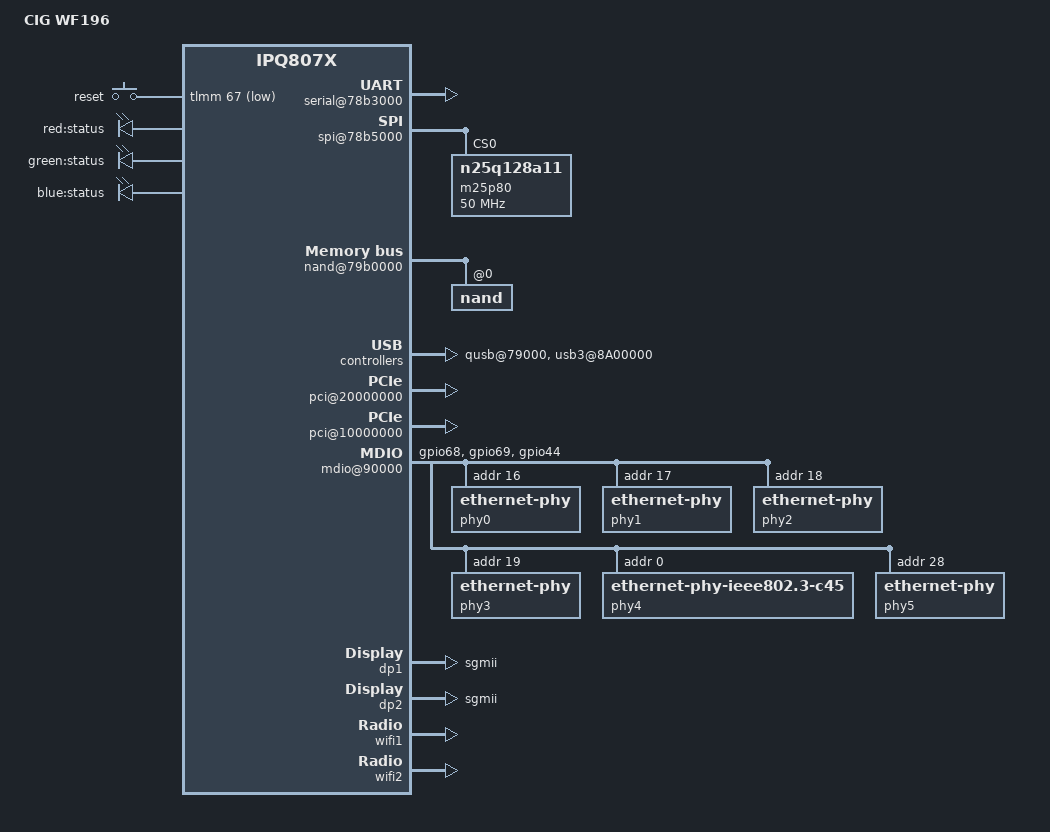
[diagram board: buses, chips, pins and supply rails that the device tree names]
// SPDX-License-Identifier: GPL-2.0-only
/dts-v1/;
/* Copyright (c) 2020 The Linux Foundation. All rights reserved.
 * Copyright (c) 2021 Qualcomm Innovation Center, Inc. All rights reserved.
 */
#include "ipq8074.dtsi"
#include "ipq8074-hk-cpu.dtsi"

/ {
	#address-cells = <0x2>;
	#size-cells = <0x2>;
	model = "CIG WF196";
	compatible = "cig,wf196", "qcom,ipq807x";
	qcom,msm-id = <0x157 0x0>, <0x187 0x0>;
	interrupt-parent = <&intc>;

	aliases {
		serial0 = &blsp1_uart5;
		/* Aliases as required by u-boot to patch MAC addresses */
		ethernet0 = "/soc/dp1";
		ethernet1 = "/soc/dp2";
		led-boot = &led_power;
		led-failsafe = &led_power;
		led-running = &led_power;
		led-upgrade = &led_power;
	};

	chosen {
		stdout-path = "serial0";
	};

	reserved-memory {
/* No Pine attach in 256M profile */
#if !defined(__IPQ_MEM_PROFILE_256_MB__)
#ifdef __IPQ_MEM_PROFILE_512_MB__
	/*                      512 MB Profile
	 * +========+==============+=========================+
	 * | Region | Start Offset |          Size           |
	 * +--------+--------------+-------------------------+
	 * |  NSS   |  0x40000000  |          16MB           |
	 * +--------+--------------+-------------------------+
	 * | Linux  |  0x41000000  | Depends on total memory |
	 * +--------+--------------+-------------------------+
	 * | TZ APP |  0x4A400000  |           1MB           |
	 * +--------+--------------+-------------------------+
	 * | uboot  |  0x4A600000  |           4MB           |
	 * +--------+--------------+-------------------------+
	 * |  SBL   |  0x4AA00000  |           1MB           |
	 * +--------+--------------+-------------------------+
	 * |  smem  |  0x4AB00000  |           1MB           |
	 * +--------+--------------+-------------------------+
	 * |   TZ   |  0x4AC00000  |           4MB           |
	 * +--------+--------------+-------------------------+
	 * |   Q6   |  0x4B000000  |          55MB           |
	 * +--------+--------------+-------------------------+
	 * |  QDSS  |  0x4E700000  |           1MB           |
	 * +--------+--------------+-------------------------+
	 * | M3 Dump|  0x4E800000  |           1MB           |
	 * +--------+--------------+-------------------------+
	 * |  Pine  |  0x4E900000  |          38MB           |
	 * +--------+--------------+-------------------------+
	 * |  MHI0  |  0x50F00000  |          9MB            |
	 * +--------+--------------+-------------------------+
	 * |                                                 |
	 * |      Rest of the memory for Linux               |
	 * |                                                 |
	 * +=================================================+
	 */
		qcn9000_pcie0: qcn9000_pcie0@4e900000 {
			no-map;
			reg = <0x0 0x4e900000 0x0 0x02600000>;
		};

#if defined(__CNSS2__)
		mhi_region0: dma_pool0@50F00000 {
			compatible = "shared-dma-pool";
			no-map;
			reg = <0x0 0x50F00000 0x0 0x00900000>;
		};
#endif
#else
	/*                   Default Profile
	 * +========+==============+=========================+
	 * | Region | Start Offset |          Size           |
	 * +--------+--------------+-------------------------+
	 * |  NSS   |  0x40000000  |          16MB           |
	 * +--------+--------------+-------------------------+
	 * | Linux  |  0x41000000  | Depends on total memory |
	 * +--------+--------------+-------------------------+
	 * | TZ APP |  0x4A400000  |           2MB           |
	 * +--------+--------------+-------------------------+
	 * | uboot  |  0x4A600000  |           4MB           |
	 * +--------+--------------+-------------------------+
	 * |  SBL   |  0x4AA00000  |           1MB           |
	 * +--------+--------------+-------------------------+
	 * |  smem  |  0x4AB00000  |           1MB           |
	 * +--------+--------------+-------------------------+
	 * |   TZ   |  0x4AC00000  |           4MB           |
	 * +--------+--------------+-------------------------+
	 * |   Q6   |  0x4B000000  |          95MB           |
	 * +--------+--------------+-------------------------+
	 * |  QDSS  |  0x50F00000  |           1MB           |
	 * +--------+--------------+-------------------------+
	 * | M3 Dump|  0x51000000  |           1MB           |
	 * +--------+--------------+-------------------------+
	 * |  Pine0 |  0x51100000  |          53MB           |
	 * +--------+--------------+-------------------------+
	 * |  MHI0  |  0x54600000  |           9MB           |
	 * +--------+--------------+-------------------------+
	 * |                                                 |
	 * |          Rest of the memory for Linux           |
	 * |                                                 |
	 * +=================================================+
	 */
		qcn9000_pcie0: qcn9000_pcie0@51100000 {
			no-map;
			reg = <0x0 0x51100000 0x0 0x03500000>;
		};

#if defined(__CNSS2__)
		mhi_region0: dma_pool0@54600000 {
			compatible = "shared-dma-pool";
			no-map;
			reg = <0x0 0x54600000 0x0 0x00900000>;
		};
#endif
#endif
#endif
	};

	soc {
		pinctrl@1000000 {
			button_pins: button_pins {
				wps_button {
					pins = "gpio67";
					function = "gpio";
					drive-strength = <8>;
					bias-pull-up;
				};
			};

			pcie0_pins: pcie_pins {
				pcie0_rst {
					pins = "gpio58";
					function = "pcie0_rst";
					drive-strength = <8>;
					bias-pull-down;
				};
				pcie0_wake {
					pins = "gpio59";
					function = "pcie0_wake";
					drive-strength = <8>;
					bias-pull-down;
				};
			};

			mdio_pins: mdio_pinmux {
				mux_0 {
					pins = "gpio68";
					function = "mdc";
					drive-strength = <8>;
					bias-pull-up;
				};
				mux_1 {
					pins = "gpio69";
					function = "mdio";
					drive-strength = <8>;
					bias-pull-up;
				};
				mux_2 {
					pins = "gpio44";
					function = "gpio";
					bias-pull-up;
				};
			};

			uniphy_pins: uniphy_pinmux {
				mux {
					pins = "gpio60";
					function = "rx2";
					bias-disable;
				};
			};

			led_pins: led_pins {
				led_red {
					pins = "gpio25";
					function = "gpio";
					drive-strength = <8>;
					bias-pull-down;
				};

				led_green {
					pins = "gpio26";
					function = "gpio";
					drive-strength = <8>;
					bias-pull-down;
				};

				led_blue {
					pins = "gpio27";
					function = "gpio";
					drive-strength = <8>;
					bias-pull-down;
				};
			};
		};

		serial@78b3000 {
			status = "ok";
		};

		spi@78b5000 {
			status = "ok";
			pinctrl-0 = <&spi_0_pins>;
			pinctrl-names = "default";
			cs-select = <0>;

			m25p80@0 {
				  compatible = "n25q128a11";
				  #address-cells = <1>;
				  #size-cells = <1>;
				  reg = <0>;
				  spi-max-frequency = <50000000>;
			};
		};

		dma@7984000 {
			 status = "ok";
		};

		nand@79b0000 {
			status = "ok";

			nand@0 {
				reg = <0>;
				#address-cells = <1>;
				#size-cells = <1>;

				nand-ecc-strength = <4>;
				nand-ecc-step-size = <512>;
				nand-bus-width = <8>;
			};
		};

		qusb@79000 {
			status = "ok";
		};

		ssphy@78000 {
			status = "ok";
		};

		usb3@8A00000 {
			status = "ok";
		};

		qcom,test@0 {
			status = "ok";
		};

		phy@84000 {
			status = "ok";
		};

		phy@86000 {
			status = "ok";
		};

		pci@20000000 {
			perst-gpio = <&tlmm 58 1>;
			status = "ok";

			pcie0_rp: pcie0_rp {
				reg = <0 0 0 0 0>;
			};
		};

		phy@8e000 {
			status = "ok";
		};

		pci@10000000 {
			perst-gpio = <&tlmm 61 0x1>;
			status = "ok";
		};

		mdio@90000 {
			pinctrl-0 = <&mdio_pins>;
			pinctrl-names = "default";
			phy-reset-gpio = <&tlmm 64 0 &tlmm 66 0>;
			phy0: ethernet-phy@0 {
				reg = <16>;
			};
			phy1: ethernet-phy@1 {
				reg = <17>;
			};
			phy2: ethernet-phy@2 {
				reg = <18>;
			};
			phy3: ethernet-phy@3 {
				reg = <19>;
			};
			phy4: ethernet-phy@4 {
				compatible ="ethernet-phy-ieee802.3-c45";
				reg = <0>;
			};
			phy5: ethernet-phy@5 {
				reg = <28>;
			};
		};

		ess-switch@3a000000 {
			pinctrl-0 = <&uniphy_pins>;
			pinctrl-names = "default";
			switch_cpu_bmp = <0x1>;  /* cpu port bitmap */
			switch_lan_bmp = <0x3e>; /* lan port bitmap */
			switch_wan_bmp = <0xc0>; /* wan port bitmap */
			switch_mac_mode = <0xff>; /* mac mode for uniphy instance0*/
			switch_mac_mode1 = <0xd>; /* mac mode for uniphy instance1*/
			switch_mac_mode2 = <0xf>; /* mac mode for uniphy instance2*/
			bm_tick_mode = <0>; /* bm tick mode */
			tm_tick_mode = <0>; /* tm tick mode */
			qcom,port_phyinfo {
				port@0 {
					port_id = <1>;
					phy_address = <16>;
				};
				port@1 {
					port_id = <2>;
					phy_address = <17>;
				};
				port@2 {
					port_id = <3>;
					phy_address = <18>;
				};
				port@3 {
					port_id = <4>;
					phy_address = <19>;
				};
				port@4 {
					port_id = <5>;
					phy_address = <0>;
					port_mac_sel = "QGMAC_PORT";
					ethernet-phy-ieee802.3-c45;
				};
				port@5 {
					port_id = <6>;
					phy_address = <28>;
					port_mac_sel = "QGMAC_PORT";
				};
			};
			port_scheduler_resource {
				port@0 {
					port_id = <0>;
					ucast_queue = <0 143>;
					mcast_queue = <256 271>;
					l0sp = <0 35>;
					l0cdrr = <0 47>;
					l0edrr = <0 47>;
					l1cdrr = <0 7>;
					l1edrr = <0 7>;
				};
				port@1 {
					port_id = <1>;
					ucast_queue = <144 159>;
					mcast_queue = <272 275>;
					l0sp = <36 39>;
					l0cdrr = <48 63>;
					l0edrr = <48 63>;
					l1cdrr = <8 11>;
					l1edrr = <8 11>;
				};
				port@2 {
					port_id = <2>;
					ucast_queue = <160 175>;
					mcast_queue = <276 279>;
					l0sp = <40 43>;
					l0cdrr = <64 79>;
					l0edrr = <64 79>;
					l1cdrr = <12 15>;
					l1edrr = <12 15>;
				};
				port@3 {
					port_id = <3>;
					ucast_queue = <176 191>;
					mcast_queue = <280 283>;
					l0sp = <44 47>;
					l0cdrr = <80 95>;
					l0edrr = <80 95>;
					l1cdrr = <16 19>;
					l1edrr = <16 19>;
				};
				port@4 {
					port_id = <4>;
					ucast_queue = <192 207>;
					mcast_queue = <284 287>;
					l0sp = <48 51>;
					l0cdrr = <96 111>;
					l0edrr = <96 111>;
					l1cdrr = <20 23>;
					l1edrr = <20 23>;
				};
				port@5 {
					port_id = <5>;
					ucast_queue = <208 223>;
					mcast_queue = <288 291>;
					l0sp = <52 55>;
					l0cdrr = <112 127>;
					l0edrr = <112 127>;
					l1cdrr = <24 27>;
					l1edrr = <24 27>;
				};
				port@6 {
					port_id = <6>;
					ucast_queue = <224 239>;
					mcast_queue = <292 295>;
					l0sp = <56 59>;
					l0cdrr = <128 143>;
					l0edrr = <128 143>;
					l1cdrr = <28 31>;
					l1edrr = <28 31>;
				};
				port@7 {
					port_id = <7>;
					ucast_queue = <240 255>;
					mcast_queue = <296 299>;
					l0sp = <60 63>;
					l0cdrr = <144 159>;
					l0edrr = <144 159>;
					l1cdrr = <32 35>;
					l1edrr = <32 35>;
				};
			};
			port_scheduler_config {
				port@0 {
					port_id = <0>;
					l1scheduler {
						group@0 {
							sp = <0 1>; /*L0 SPs*/
							/*cpri cdrr epri edrr*/
							cfg = <0 0 0 0>;
						};
					};
					l0scheduler {
						group@0 {
							/*unicast queues*/
							ucast_queue = <0 4 8>;
							/*multicast queues*/
							mcast_queue = <256 260>;
							/*sp cpri cdrr epri edrr*/
							cfg = <0 0 0 0 0>;
						};
						group@1 {
							ucast_queue = <1 5 9>;
							mcast_queue = <257 261>;
							cfg = <0 1 1 1 1>;
						};
						group@2 {
							ucast_queue = <2 6 10>;
							mcast_queue = <258 262>;
							cfg = <0 2 2 2 2>;
						};
						group@3 {
							ucast_queue = <3 7 11>;
							mcast_queue = <259 263>;
							cfg = <0 3 3 3 3>;
						};
					};
				};
				port@1 {
					port_id = <1>;
					l1scheduler {
						group@0 {
							sp = <36>;
							cfg = <0 8 0 8>;
						};
						group@1 {
							sp = <37>;
							cfg = <1 9 1 9>;
						};
					};
					l0scheduler {
						group@0 {
							ucast_queue = <144>;
							ucast_loop_pri = <16>;
							mcast_queue = <272>;
							mcast_loop_pri = <4>;
							cfg = <36 0 48 0 48>;
						};
					};
				};
				port@2 {
					port_id = <2>;
					l1scheduler {
						group@0 {
							sp = <40>;
							cfg = <0 12 0 12>;
						};
						group@1 {
							sp = <41>;
							cfg = <1 13 1 13>;
						};
					};
					l0scheduler {
						group@0 {
							ucast_queue = <160>;
							ucast_loop_pri = <16>;
							mcast_queue = <276>;
							mcast_loop_pri = <4>;
							cfg = <40 0 64 0 64>;
						};
					};
				};
				port@3 {
					port_id = <3>;
					l1scheduler {
						group@0 {
							sp = <44>;
							cfg = <0 16 0 16>;
						};
						group@1 {
							sp = <45>;
							cfg = <1 17 1 17>;
						};
					};
					l0scheduler {
						group@0 {
							ucast_queue = <176>;
							ucast_loop_pri = <16>;
							mcast_queue = <280>;
							mcast_loop_pri = <4>;
							cfg = <44 0 80 0 80>;
						};
					};
				};
				port@4 {
					port_id = <4>;
					l1scheduler {
						group@0 {
							sp = <48>;
							cfg = <0 20 0 20>;
						};
						group@1 {
							sp = <49>;
							cfg = <1 21 1 21>;
						};
					};
					l0scheduler {
						group@0 {
							ucast_queue = <192>;
							ucast_loop_pri = <16>;
							mcast_queue = <284>;
							mcast_loop_pri = <4>;
							cfg = <48 0 96 0 96>;
						};
					};
				};
				port@5 {
					port_id = <5>;
					l1scheduler {
						group@0 {
							sp = <52>;
							cfg = <0 24 0 24>;
						};
						group@1 {
							sp = <53>;
							cfg = <1 25 1 25>;
						};
					};
					l0scheduler {
						group@0 {
							ucast_queue = <208>;
							ucast_loop_pri = <16>;
							mcast_queue = <288>;
							mcast_loop_pri = <4>;
							cfg = <52 0 112 0 112>;
						};
					};
				};
				port@6 {
					port_id = <6>;
					l1scheduler {
						group@0 {
							sp = <56>;
							cfg = <0 28 0 28>;
						};
						group@1 {
							sp = <57>;
							cfg = <1 29 1 29>;
						};
					};
					l0scheduler {
						group@0 {
							ucast_queue = <224>;
							ucast_loop_pri = <16>;
							mcast_queue = <292>;
							mcast_loop_pri = <4>;
							cfg = <56 0 128 0 128>;
						};
					};
				};
				port@7 {
					port_id = <7>;
					l1scheduler {
						group@0 {
							sp = <60>;
							cfg = <0 32 0 32>;
						};
						group@1 {
							sp = <61>;
							cfg = <1 33 1 33>;
						};
					};
					l0scheduler {
						group@0 {
							ucast_queue = <240>;
							ucast_loop_pri = <16>;
							mcast_queue = <296>;
							cfg = <60 0 144 0 144>;
						};
					};
				};
			};
		};
		gpio_keys {
			compatible = "gpio-keys";
			pinctrl-0 = <&button_pins>;
			pinctrl-names = "default";
			status = "ok";

			button@1 {
				label = "reset";
				linux,code = <KEY_RESTART>;
				gpios = <&tlmm 67 GPIO_ACTIVE_LOW>;
				linux,input-type = <1>;
				debounce-interval = <60>;
			};
		};

		leds {
			compatible = "gpio-leds";
			pinctrl-0 = <&led_pins>;
			pinctrl-names = "default";

			led_red {
				label = "red:status";
				gpio = <&tlmm 25 GPIO_ACTIVE_HIGH>;
				default-state = "off";
			};

			led_power: led_green {
				label = "green:status";
				gpio = <&tlmm 26 GPIO_ACTIVE_HIGH>;
				default-state = "on";
			};

			led_blue {
				label = "blue:status";
				gpio = <&tlmm 27 GPIO_ACTIVE_HIGH>;
				default-state = "off";
			};
		};

		dp1 {
			device_type = "network";
			compatible = "qcom,nss-dp";
			qcom,id = <5>;
			reg = <0x3a001800 0x200>;
			qcom,mactype = <1>;
			local-mac-address = [000000000000];
			qcom,link-poll = <1>;
			qcom,phy-mdio-addr = <0>;
			phy-mode = "sgmii";
		};

		dp2 {
			device_type = "network";
			compatible = "qcom,nss-dp";
			qcom,id = <6>;
			reg = <0x3a001a00 0x200>;
			qcom,mactype = <0>;
			local-mac-address = [000000000000];
			qcom,link-poll = <1>;
			qcom,phy-mdio-addr = <28>;
			phy-mode = "sgmii";
		};
	};
};

&npu_cpr {
	status = "disabled";
};

&nss0 {
	npu-supply = <&dummy_reg>;
	mx-supply = <&dummy_reg>;
};

#ifndef __IPQ_MEM_PROFILE_256_MB__
&nss1 {
	npu-supply = <&dummy_reg>;
	mx-supply = <&dummy_reg>;
};
#endif

&wifi0 {
	status = "disabled";
};

&wifi1 {
	qcom,board_id = <0x294>;
	status = "ok";
};

#if !defined(__IPQ_MEM_PROFILE_256_MB__)
&wifi2 {
#ifdef __IPQ_MEM_PROFILE_512_MB__
      /* QCN9000 tgt-mem-mode=1 layout - 30MB
       * +=========+==============+=========+
       * |  Region | Start Offset |   Size  |
       * +---------+--------------+---------+
       * | HREMOTE |  0x4E900000  |   20MB  |
       * +---------+--------------+---------+
       * | M3 Dump |  0x4FD00000  |   1MB   |
       * +---------+--------------+---------+
       * |   ETR   |  0x4FE00000  |   1MB   |
       * +---------+--------------+---------+
       * |  Caldb  |  0x4FF00000  |   8MB   |
       * +---------+--------------+---------+
       * | Pageable|  0x50700000  |   8MB   |
       * +==================================+
       */
	base-addr = <0x4E900000>;
	m3-dump-addr = <0x4FD00000>;
	etr-addr = <0x4FE00000>;
	caldb-addr = <0x4FF00000>;
	pageable-addr = <0x50700000>;
	hremote-size = <0x1400000>;
	tgt-mem-mode = <0x1>;
#else
      /* QCN9000 tgt-mem-mode=0 layout - 45MB
       * +=========+==============+=========+
       * |  Region | Start Offset |   Size  |
       * +---------+--------------+---------+
       * | HREMOTE |  0x51100000  |   35MB  |
       * +---------+--------------+---------+
       * | M3 DUMP |  0x53400000  |   1MB   |
       * +---------+--------------+---------+
       * |   ETR   |  0x53500000  |   1MB   |
       * +---------+--------------+---------+
       * |  Caldb  |  0x53600000  |   8MB   |
       * +---------+--------------+---------+
       * | Pageable|  0x53E00000  |   8MB   |
       * +==================================+
       */
	base-addr = <0x51100000>;
	m3-dump-addr = <0x53400000>;
	etr-addr = <0x53500000>;
	caldb-addr = <0x53600000>;
	pageable-addr = <0x53E00000>;
	hremote-size = <0x2300000>;
	tgt-mem-mode = <0x0>;
#endif
	caldb-size = <0x800000>;
	hremote_node = <&qcn9000_pcie0>;
	pageable-size = <0x800000>;
	board_id = <0xa4>;
	status = "ok";
};
#endif

&wifi3 {
	status = "disabled";
};

&pcie0_rp {
	status = "ok";

	mhi_0: qcom,mhi@0 {
		reg = <0 0 0 0 0 >;
		qrtr_instance_id = <0x20>;
		#address-cells = <0x2>;
		#size-cells = <0x2>;
#if defined(__CNSS2__)
#if !defined(__IPQ_MEM_PROFILE_256_MB__)
		memory-region = <&mhi_region0>;
#endif
#else
#ifdef __IPQ_MEM_PROFILE_512_MB__
		base-addr = <0x4E900000>;
		m3-dump-addr = <0x4FD00000>;
		etr-addr = <0x4FE00000>;
		qcom,caldb-addr = <0x4FF00000>;
		pageable-addr = <0x50700000>;
#else
		base-addr = <0x51100000>;
		m3-dump-addr = <0x53400000>;
		etr-addr = <0x53500000>;
		qcom,caldb-addr = <0x53600000>;
		pageable-addr = <0x53E00000>;
#endif
		qcom,board_id= <0xa4>;

		pcie0_mhi: pcie0_mhi {
			status = "ok";
		};
#endif
	};
};
